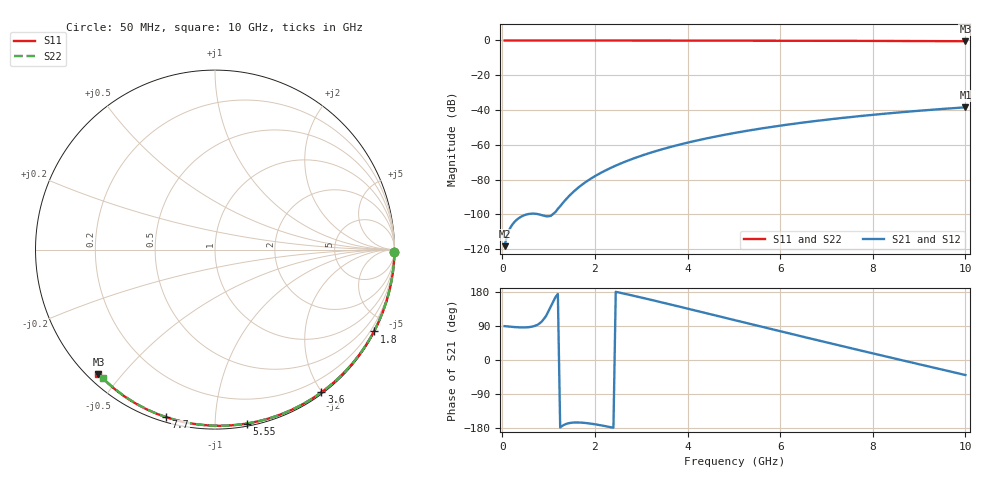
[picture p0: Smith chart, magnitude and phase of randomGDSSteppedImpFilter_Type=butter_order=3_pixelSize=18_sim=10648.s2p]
! freq	dB(S11)	phase(S11)	dB(S12)	phase(S12)
!  dB(S21)	phase(S21)	dB(S22)	phase(S22)
!S-par simulation data
#  GHz  S  DB  R 50
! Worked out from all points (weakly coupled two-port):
!   200 points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, 50 MHz to 10 GHz, reference 50 ohm
!   highest |S21| = -38.43 dB at 10 GHz (marker M1); lowest = -118.2 dB at 50 MHz (marker M2)
!   lowest |S11| = -0.4 dB at 10 GHz (marker M3), VSWR 38.62, Z = 1.54 - j21.7 ohm
!   |S11| at or under -10 dB: nowhere
!   |S22| runs from -0.4 to 0.0 dB; largest |S21 - S12| = 0
!   S11 on the Smith chart (normalised r, x): 50 MHz: open; 1.8 GHz: 0.04, -4.12; 3.6 GHz: 0.02, -1.99; 5.55 GHz: 0.02, -1.20; 7.7 GHz: 0.02, -0.75; 10 GHz: 0.03, -0.43
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0.05  -0.00 -0.8  -118.23 89.4  -118.23 89.4  -0.00 -0.8
0.9  -0.02 -13.8  -100.77 108.6  -100.77 108.6  -0.02 -13.6
1.75  -0.03 -26.5  -82.34 -165.7  -82.34 -165.7  -0.03 -26.2
1.8  -0.03 -27.3  -81.39 -166.2  -81.39 -166.2  -0.03 -26.9
1.85  -0.04 -28.0  -80.49 -167.0  -80.49 -167.0  -0.04 -27.6
1.9  -0.04 -28.7  -79.63 -167.7  -79.63 -167.7  -0.04 -28.4
2.05  -0.04 -31.0  -77.23 -170.6  -77.23 -170.6  -0.04 -30.5
2.25  -0.04 -33.9  -74.41 -175.1  -74.41 -175.1  -0.04 -33.4
2.45  -0.05 -36.8  -71.92 179.9  -71.92 179.9  -0.05 -36.3
2.65  -0.05 -39.7  -69.69 174.6  -69.69 174.6  -0.05 -39.2
3  -0.06 -44.8  -66.27 164.9  -66.27 164.9  -0.06 -44.2
3.4  -0.07 -50.5  -62.92 153.3  -62.92 153.3  -0.07 -49.8
3.6  -0.07 -53.3  -61.43 147.5  -61.43 147.5  -0.07 -52.6
4.3  -0.09 -63.0  -56.92 126.7  -56.92 126.7  -0.09 -62.1
5.05  -0.11 -73.0  -53.00 104.3  -53.00 104.3  -0.11 -72.1
5.55  -0.13 -79.6  -50.77 89.4  -50.77 89.4  -0.13 -78.5
6.1  -0.15 -86.6  -48.60 73.0  -48.60 73.0  -0.15 -85.5
6.7  -0.18 -94.1  -46.50 55.3  -46.50 55.3  -0.18 -92.9
7.7  -0.24 -106.3  -43.53 26.1  -43.53 26.1  -0.24 -104.9
8.35  -0.29 -114.0  -41.87 7.4  -41.87 7.4  -0.29 -112.4
9.15  -0.36 -123.3  -40.07 -15.4  -40.07 -15.4  -0.36 -121.6
10  -0.45 -133.1  -38.43 -39.6  -38.43 -39.6  -0.44 -131.2
